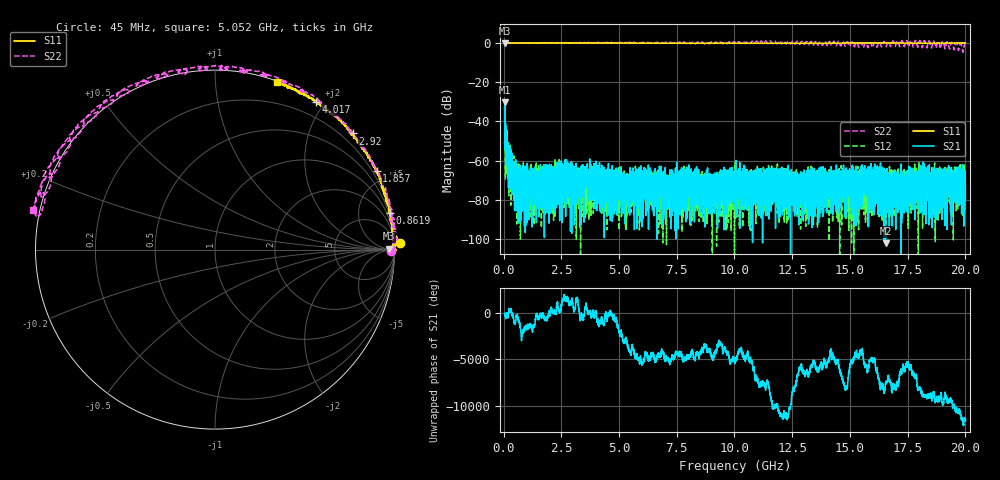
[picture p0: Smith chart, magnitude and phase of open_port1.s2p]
!Agilent Technologies,E8364A,US41440322,A.04.87.01
!Agilent E8364A: A.04.87.01
!Date: Tuesday, July 16, 2024 12:09:29
!Correction: S11(Full 2 Port SOLT,1,2) S21(Full 2 Port SOLT,1,2) S12(Full 2 Port SOLT,1,2) S22(Full 2 Port SOLT,1,2)
!S2P File: Measurements: S11, S21, S12, S22:
# Hz S  dB  R 50
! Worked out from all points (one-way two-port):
!   6401 points, 45 MHz to 20 GHz, reference 50 ohm
!   highest |S21| = -30.24 dB at 57.47 MHz (marker M1); lowest = -102.1 dB at 16.54 GHz (marker M2)
!   lowest |S11| = -0.3 dB at 57.47 MHz (marker M3), VSWR 63.69, Z = 3.12e+03 + j443 ohm
!   |S11| at or under -10 dB: nowhere
!   |S22| runs from -4.8 to 1.3 dB; largest |S21 - S12| = 0.037
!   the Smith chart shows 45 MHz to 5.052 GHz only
!   S11 on the Smith chart (normalised r, x): 45 MHz: -30, +35; 861.9 MHz: 0.19, +9.76; 1.857 GHz: -0.01, +4.36; 2.92 GHz: -0.02, +2.74; 4.017 GHz: 0.01, +1.90; 5.052 GHz: 0.01, +1.43
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4.5e7  0.25 1.9  -32.79 -145.1  -33.13 -104.1  -0.16 -0.6
5.747188e7  -0.27 0.3  -30.24 -2.1  -43.00 19.3  -0.02 1.9
1.790727e8  -0.00 2.1  -61.41 14.2  -55.31 -139.1  0.04 6.5
3.256172e8  -0.02 4.3  -70.59 -20.9  -67.61 -43.0  0.02 10.8
6.498859e8  -0.06 8.6  -72.76 -150.6  -68.75 167.3  0.03 21.7
8.619078e8  -0.03 11.7  -78.86 -15.4  -72.95 -139.0  0.01 28.4
1.85654e9  0.01 25.8  -67.83 149.3  -69.88 -33.1  0.11 60.9
2.919767e9  0.03 40.1  -72.87 -112.7  -62.57 -77.9  0.19 100.1
3.371873e9  0.03 46.7  -77.20 -65.4  -71.97 -70.6  0.04 115.0
4.017292e9  -0.03 55.6  -64.21 127.2  -77.66 88.9  0.07 130.3
5.052458e9  -0.06 69.8  -74.53 159.7  -82.19 62.3  0.34 167.6
6.698745e9  -0.14 93.0  -71.24 32.9  -73.41 20.3  0.01 -132.5
8.304499e9  -0.16 115.8  -78.66 54.0  -75.42 -43.0  -0.45 -88.3
1.00225e10  -0.17 140.2  -68.92 -159.2  -72.94 70.1  0.34 -25.8
1.163137e10  -0.17 163.6  -67.92 -100.7  -70.05 -62.6  -0.33 22.2
1.334937e10  -0.15 -172.5  -73.48 -95.5  -72.53 74.4  0.58 83.4
1.47774e10  -0.07 -153.8  -69.28 56.9  -78.93 159.7  -1.34 128.6
1.654217e10  -0.00 -132.7  -102.08 20.0  -81.19 -103.8  -1.30 -166.6
1.667625e10  -0.01 -131.5  -76.13 -102.4  -78.35 -179.5  0.87 -171.3
1.796708e10  -0.10 -116.3  -71.07 72.7  -78.44 115.7  -1.02 -156.3
1.977239e10  -0.04 -94.2  -82.04 -94.0  -62.01 25.9  -0.56 -107.8
2e10  -0.06 -89.6  -78.82 -125.5  -75.11 -19.7  -0.81 -89.8
